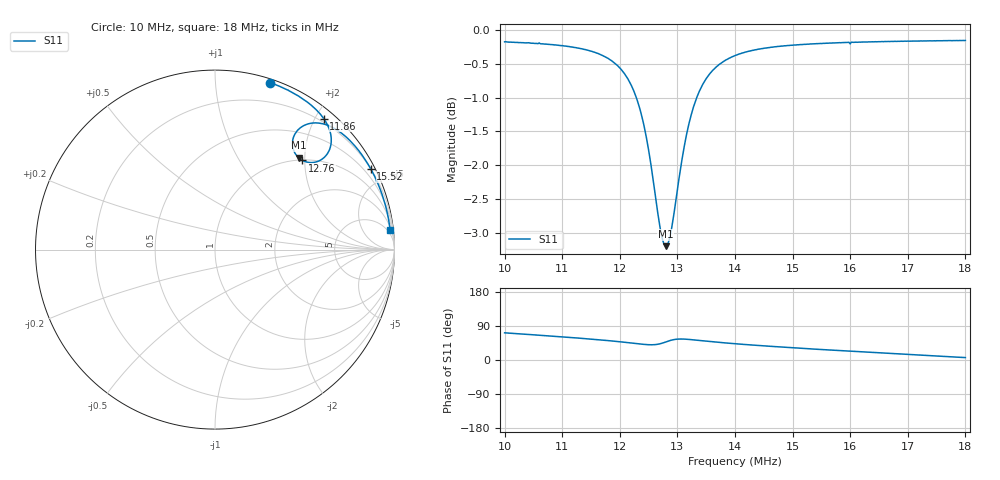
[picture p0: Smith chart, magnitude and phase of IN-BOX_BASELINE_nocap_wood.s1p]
!File created by NanoVNA
# Hz S RI R 50
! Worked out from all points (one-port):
!   401 points, 10 MHz to 18 MHz, reference 50 ohm
!   lowest |S11| = -3.2 dB at 12.8 MHz (marker M1), VSWR 5.50, Z = 47.6 + j93.5 ohm
!   |S11| at or under -10 dB: nowhere
!   S11 on the Smith chart (normalised r, x): 10 MHz: 0.03, +1.38; 11.86 MHz: 0.15, +2.12; 12.76 MHz: 1.01, +1.95; 15.52 MHz: 0.20, +4.09; 18 MHz: 3, +17
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1e7  0.3076 0.9302
1.056e7  0.4001 0.8914
1.1e7  0.4714 0.8517
1.148e7  0.548 0.7941
1.186e7  0.6061 0.7298
1.2e7  0.6249 0.6984
1.226e7  0.6476 0.6213
1.236e7  0.6457 0.5839
1.244e7  0.6357 0.5515
1.254e7  0.6079 0.513
1.262e7  0.5707 0.4908
1.27e7  0.5236 0.4856
1.276e7  0.4872 0.497
1.28e7  0.4658 0.5121
1.29e7  0.4341 0.5665
1.3e7  0.4367 0.6241
1.308e7  0.4562 0.66
1.316e7  0.4831 0.6841
1.324e7  0.5116 0.698
1.334e7  0.5462 0.7053
1.364e7  0.6301 0.6918
1.4e7  0.7007 0.652
1.444e7  0.7632 0.5955
1.5e7  0.8233 0.5207
1.552e7  0.8672 0.4504
1.6e7  0.8985 0.382
1.7e7  0.9494 0.2468
1.8e7  0.9759 0.1091
